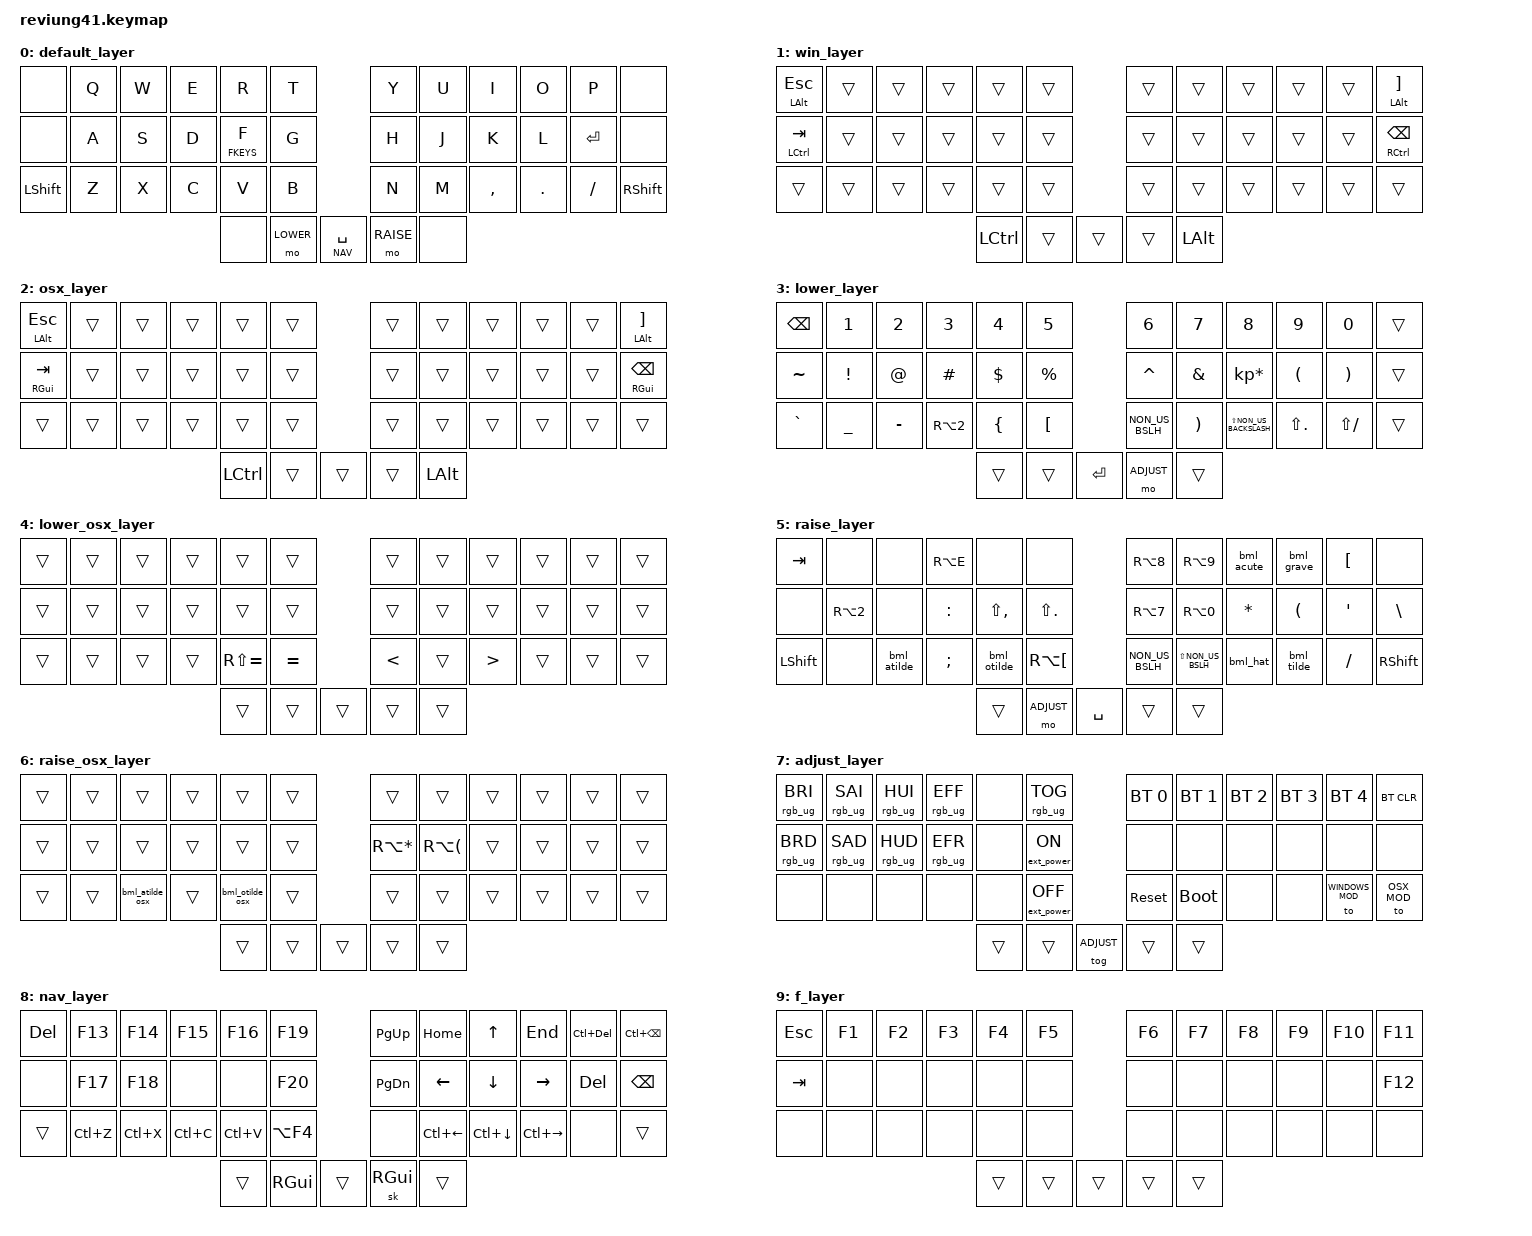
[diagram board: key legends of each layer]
/*
 * Copyright (c) 2020 The ZMK Contributors
 *
 * SPDX-License-Identifier: MIT
 */

#include <behaviors.dtsi>
#include <dt-bindings/zmk/keys.h>
#include <dt-bindings/zmk/bt.h>
#include <dt-bindings/zmk/rgb.h>
#include <dt-bindings/zmk/ext_power.h>


/*
 * Temporarily here because nice nano v2 spi is not defined on ZMk Yet
 * Source: https://github.com/zmkfirmware/zmk/blob/main/app/boards/shields/reviung41/boards/nice_nano.overlay
 * GitHub Issue: https://github.com/zmkfirmware/zmk/issues/885
 */

#include <dt-bindings/led/led.h>
// &spi1 {
// 	compatible = "nordic,nrf-spim";
// 	status = "okay";
// 	mosi-pin = <6>;
// 	// Unused pins, needed for SPI definition, but not used by the ws2812 driver itself.
// 	sck-pin = <5>;
// 	miso-pin = <7>;

// 	led_strip: ws2812@0 {
// 		compatible = "worldsemi,ws2812-spi";

// 		/* SPI */
// 		reg = <0>; /* ignored, but necessary for SPI bindings */
// 		spi-max-frequency = <4000000>;

// 		/* WS2812 */
// 		chain-length = <11>; /* arbitrary; change at will */
// 		spi-one-frame = <0x70>;
// 		spi-zero-frame = <0x40>;
// 		color-mapping = <LED_COLOR_ID_GREEN LED_COLOR_ID_RED LED_COLOR_ID_BLUE>;
// 	};
// };

// / {
// 	chosen {
// 		zmk,underglow = &led_strip;
// 	};
// };

#define BASE 0
#define WINDOWS_MOD 1
#define OSX_MOD 2
#define LOWER 3
#define LOWER_OSX 4
#define RAISE 5
#define RAISE_OSX 6
#define ADJUST 7
#define NAV 8
#define FKEYS 9
#define ADJUST_PLUS 10

#define KC_BML_ATILDE 
#define KC_BML_OTILDE 
#define KC_BML_GRAVE 
#define KC_BML_ACUTE 
#define KC_BML_HAT 
#define KC_BML_TILDE 

/ {
    macros {
        bml_atilde: bml_atilde {
          compatible = "zmk,behavior-macro";
          #binding-cells = <0>;
          wait-ms = <30>;
          tap-ms = <40>;
          bindings
              = <&macro_tap &kp BACKSLASH &kp A>
              ;
        };
        bml_atilde_osx: bml_atilde_osx {
          compatible = "zmk,behavior-macro";
          #binding-cells = <0>;
          wait-ms = <30>;
          tap-ms = <40>;
          bindings
              = <&macro_tap &kp APOS &kp A>
              ;
        };
        bml_otilde: bml_otilde {
          compatible = "zmk,behavior-macro";
          #binding-cells = <0>;
          wait-ms = <30>;
          tap-ms = <40>;
          bindings
              = <&macro_tap &kp BACKSLASH &kp O>
              ;
        };
        bml_tilde: bml_tilde {
          compatible = "zmk,behavior-macro";
          #binding-cells = <0>;
          wait-ms = <30>;
          tap-ms = <40>;
          bindings
              = <&macro_tap &kp BACKSLASH &kp SPACE>
              ;
        };         
        bml_otilde_osx: bml_otilde_osx {
          compatible = "zmk,behavior-macro";
          #binding-cells = <0>;
          wait-ms = <30>;
          tap-ms = <40>;
          bindings
              = <&macro_tap &kp APOS &kp O>
              ;
        };
        bml_tilde_osx: bml_tilde_osx {
          compatible = "zmk,behavior-macro";
          #binding-cells = <0>;
          wait-ms = <30>;
          tap-ms = <40>;
          bindings
              = <&macro_tap &kp APOS &kp SPACE>
              ;
        }; 
        bml_hat: bml_hat {
          compatible = "zmk,behavior-macro";
          #binding-cells = <0>;
          wait-ms = <30>;
          tap-ms = <40>;
          bindings
              = <&macro_press &kp LSHFT>
              , <&macro_tap &kp BACKSLASH>
              , <&macro_release &kp LSHFT>
              , <&macro_tap &kp SPACE>
              ; 
        }; 
        bml_acute: bml_acute {
          compatible = "zmk,behavior-macro";
          #binding-cells = <0>;
          wait-ms = <30>;
          tap-ms = <40>;
          bindings
              = <&macro_tap &kp RBKT &kp SPACE>
              ;
        }; 
        bml_grave: bml_grave {
          compatible = "zmk,behavior-macro";
          #binding-cells = <0>;
          wait-ms = <30>;
          tap-ms = <40>;
          bindings
              = <&macro_press &kp LSHFT>
              , <&macro_tap &kp RBKT>
              , <&macro_release &kp LSHFT>
              , <&macro_tap &kp SPACE>
              ;
        };
      };
};

/ {
    conditional_layers {
        compatible = "zmk,conditional-layers";
        win_layer {
            if-layers = <WINDOWS_MOD>;
            then-layer = <BASE>;
        };
        osx_layer {
            if-layers = <OSX_MOD>;
            then-layer = <BASE>;
        };
        lower_osx_layer {
            if-layers = <OSX_MOD LOWER>;
            then-layer = <LOWER_OSX>;
        };
        raise_osx_layer {
            if-layers = <OSX_MOD RAISE>;
            then-layer = <RAISE_OSX>;
        };
    };
};

/ {
    behaviors {
        hm: homerow_mods {
            compatible = "zmk,behavior-hold-tap";
            #binding-cells = <2>;
            tapping-term-ms = <150>;
            quick-tap-ms = <0>;
            flavor = "tap-preferred";
            bindings = <&kp>, <&kp>;
        };
    };
        keymap {
                compatible = "zmk,keymap";



  default_layer {
    // |   [X]   | Q | W | E |      R      |     T     |               |     Y     |  U  | I | O | P  |   [X]   |
    // |   [X]   | A | S | D | &lt FKEYS F |     G     |               |     H     |  J  | K | L | ⮠  |   [X]   |
    // | &LSHIFT | Z | X | C |      V      |     B     |               |     N     |  M  | , | . | /  | &RSHIFT |
    //                       |     [X]     | [m] LOWER | &lt NAV SPACE | [m] RAISE | [X] |                       

    bindings = <
      &none        &kp Q   &kp W   &kp E   &kp R         &kp T                       &kp Y       &kp U   &kp I       &kp O     &kp P      &none    
      &none        &kp A   &kp S   &kp D   &lt FKEYS F   &kp G                       &kp H       &kp J   &kp K       &kp L     &kp RET    &none    
      &kp LSHIFT   &kp Z   &kp X   &kp C   &kp V         &kp B                       &kp N       &kp M   &kp COMMA   &kp DOT   &kp FSLH   &kp RSHIFT  
                                           &none         &mo LOWER   &lt NAV SPACE   &mo RAISE   &none                                            
    >;
  };

  win_layer {
    // | LALT|ESC  |   |   |   |       |   |    |   |     |   |   |   | &hm LALT RBKT |
    // | LCTRL|TAB |   |   |   |       |   |    |   |     |   |   |   |   RCTL|BSPC   |
    // |           |   |   |   |       |   |    |   |     |   |   |   |               |
    //                         | LCTRL |   |    |   | ALT |                            

    bindings = <
      &mt LALT ESC    &trans   &trans   &trans   &trans      &trans            &trans   &trans     &trans   &trans   &trans   &hm LALT RBKT  
      &mt LCTRL TAB   &trans   &trans   &trans   &trans      &trans            &trans   &trans     &trans   &trans   &trans   &mt RCTRL BSPC  
      &trans          &trans   &trans   &trans   &trans      &trans            &trans   &trans     &trans   &trans   &trans   &trans         
                                                 &kp LCTRL   &trans   &trans   &trans   &kp LALT                                            
    >;
  };

  osx_layer {
    // | LALT|ESC |   |   |   |       |   |    |   |     |   |   |   | &hm LALT RBKT |
    // | RGUI|TAB |   |   |   |       |   |    |   |     |   |   |   |   RGUI|BSPC   |
    // |          |   |   |   |       |   |    |   |     |   |   |   |               |
    //                        | LCTRL |   |    |   | ALT |                            

    bindings = <
      &mt LALT ESC   &trans   &trans   &trans   &trans      &trans            &trans   &trans     &trans   &trans   &trans   &hm LALT RBKT  
      &mt RGUI TAB   &trans   &trans   &trans   &trans      &trans            &trans   &trans     &trans   &trans   &trans   &mt RGUI BSPC  
      &trans         &trans   &trans   &trans   &trans      &trans            &trans   &trans     &trans   &trans   &trans   &trans         
                                                &kp LCTRL   &trans   &trans   &trans   &kp LALT                                            
    >;
  };
  
  lower_layer {
    // | BSPC |   1   | 2 |     3     | 4 | 5 |    |      6      | 7 |          8           |    9    |    0     |   |
    // |  ~   |   !   | @ |     #     | $ | % |    |      ^      | & |          #*          |    (    |    )     |   |
    // |  `   | UNDER | - | RA(KP_N2) | { | [ |    | NON_US_BSLH | ) | LS(NON_US_BACKSLASH) | LS(DOT) | LS(FSLH) |   |
    //                                |   |   | ⮠  | [m] ADJUST  |   |                                                

    bindings = <
      &kp BSPC    &kp N1      &kp N2      &kp N3          &kp N4     &kp N5                &kp N6            &kp N7     &kp N8                     &kp N9        &kp N0         &trans  
      &kp TILDE   &kp EXCL    &kp AT      &kp HASH        &kp DLLR   &kp PRCNT             &kp CARET         &kp AMPS   &kp KP_ASTERISK            &kp LPAR      &kp RPAR       &trans  
      &kp GRAVE   &kp UNDER   &kp MINUS   &kp RA(N2)      &kp LBRC   &kp LBKT              &kp NON_US_BSLH   &kp RPAR   &kp LS(NON_US_BACKSLASH)   &kp LS(DOT)   &kp LS(FSLH)   &trans  
                                                          &trans     &trans      &kp RET   &mo ADJUST        &trans                                                                    
    >;
  };
  
  lower_osx_layer {
    bindings = <
      &trans   &trans   &trans   &trans   &trans            &trans            &trans   &trans     &trans   &trans   &trans   &trans  
      &trans   &trans   &trans   &trans   &trans            &trans            &trans   &trans     &trans   &trans   &trans   &trans  
      &trans   &trans   &trans   &trans   &kp RS(EQUAL)     &kp EQUAL            &kp LESS_THAN   &trans     &kp GREATER_THAN   &trans   &trans   &trans         
                                 &trans   &trans            &trans            &trans   &trans                                            
    >;
  };

  raise_layer {
    // |  TAB   |  [X]   |     [X]     |   RA(E)   |     [X]     |    [X]     |       |   RA(N8)    |     RA(N9)      | &bml_acute | &bml_grave |  [   |  [X]   |
    // |  [X]   | RA(N2) |     [X]     |   COLON   |  LS(COMMA)  |  LS(DOT)   |       |   RA(N7)    |     RA(N0)      |     *      |     (      | APOS |   \    |
    // | LSHIFT |  [X]   | &bml_atilde | SEMICOLON | &bml_otilde |  RA(LBKT)  |       | NON_US_BSLH | LS(NON_US_BSLH) |  &bml_hat  | &bml_tilde |  /   | RSHIFT |
    //                                             |             | [m] ADJUST | SPACE |             |                 |                                          

    bindings = <
      &kp TAB      &none        &none         &kp RA(E)       &none           &none                      &kp RA(N8)        &kp RA(N9)            &bml_acute   &bml_grave   &kp LBKT   &none       
      &none        &kp RA(N2)   &none         &kp COLON       &kp LS(COMMA)   &kp LS(DOT)                &kp RA(N7)        &kp RA(N0)            &kp STAR     &kp LPAR     &kp APOS   &kp BSLH    
      &kp LSHIFT   &none        &bml_atilde   &kp SEMICOLON   &bml_otilde     &kp RA(LBKT)               &kp NON_US_BSLH   &kp LS(NON_US_BSLH)   &bml_hat     &bml_tilde   &kp FSLH   &kp RSHIFT  
                                                              &trans          &mo ADJUST     &kp SPACE   &trans            &trans                                                                
    >;
  };
  
  raise_osx_layer {
    bindings = <
      &trans   &trans   &trans            &trans   &trans               &trans            &trans   &trans     &trans   &trans   &trans   &trans  
      &trans   &trans   &trans            &trans   &trans               &trans            &kp RA(STAR)   &kp RA(LPAR)     &trans   &trans   &trans   &trans  
      &trans   &trans   &bml_atilde_osx   &trans   &bml_otilde_osx      &trans            &trans   &trans     &trans   &trans   &trans   &trans         
                                          &trans      &trans            &trans            &trans   &trans                                            
    >;
  };

  adjust_layer {
    // | rgb BRI+ | rgb SAT+ | rgb HUE+ | rgb ANI+ | [X] |      rgb TOG      |            | bt SEL 0 |  bt SEL 1   | bt SEL 2 | bt SEL 3 |    bt SEL 4     |   bt CLR    |
    // | rgb BRI- | rgb SAT- | rgb HUE- | rgb ANI- | [X] | &ext_power EP_ON  |            |   [X]    |     [X]     |   [X]    |   [X]    |       [X]       |     [X]     |
    // |   [X]    |   [X]    |   [X]    |   [X]    | [X] | &ext_power EP_OFF |            |  &reset  | &bootloader |   [X]    |   [X]    | &to WINDOWS_MOD | &to OSX_MOD |
    //                                             |     |                   | [t] ADJUST |          |             |                                                      

    bindings = <
      &rgb_ug RGB_BRI   &rgb_ug RGB_SAI   &rgb_ug RGB_HUI   &rgb_ug RGB_EFF   &none    &rgb_ug RGB_TOG                   &bt BT_SEL 0   &bt BT_SEL 1   &bt BT_SEL 2   &bt BT_SEL 3   &bt BT_SEL 4      &bt BT_CLR   
      &rgb_ug RGB_BRD   &rgb_ug RGB_SAD   &rgb_ug RGB_HUD   &rgb_ug RGB_EFR   &none    &ext_power EP_ON                  &none          &none          &none          &none          &none             &none        
      &none             &none             &none             &none             &none    &ext_power EP_OFF                 &sys_reset         &bootloader    &none          &none          &to WINDOWS_MOD   &to OSX_MOD  
                                                                              &trans   &trans              &tog ADJUST   &trans         &trans                                                                     
    >;
  };

  nav_layer {
    // | DEL |  F13  |  F14  |  F15  |  F16  |  F19   |    |  PAGE_UP  |   HOME   |    ^     |    END    | LC(DEL) | LC(BSPC) |
    // | [X] |  F17  |  F18  |  [X]  |  [X]  |  F20   |    | PAGE_DOWN |    <-    |    v     |    ->     |   DEL   |   BSPC   |
    // |     | LC(Z) | LC(X) | LC(C) | LC(V) | LA(F4) |    |    [X]    | LC(LEFT) | LC(DOWN) | LC(RIGHT) |   [X]   |          |
    //                               |       |  GUI   |    | &sk RGUI  |          |                                            

    bindings = <
      &kp DEL   &kp F13     &kp F14     &kp F15     &kp F16     &kp F19               &kp PAGE_UP     &kp HOME       &kp UP         &kp END         &kp LC(DEL)   &kp LC(BSPC)  
      &none     &kp F17     &kp F18     &none       &none       &kp F20               &kp PAGE_DOWN   &kp LEFT       &kp DOWN       &kp RIGHT       &kp DEL       &kp BSPC      
      &trans    &kp LC(Z)   &kp LC(X)   &kp LC(C)   &kp LC(V)   &kp LA(F4)            &none           &kp LC(LEFT)   &kp LC(DOWN)   &kp LC(RIGHT)   &none         &trans     
                                                    &trans      &kp RGUI     &trans   &sk RGUI        &trans                                                                   
    >;
  };

  f_layer {
    // | [X] | F1  | F2  | F3  | F4  | F5  |    | F6  | F7  | F8  | F9  | F10 | F11 |
    // | [X] | [X] | [X] | [X] | [X] | [X] |    | [X] | [X] | [X] | [X] | [X] | F12 |
    // | [X] | [X] | [X] | [X] | [X] | [X] |    | [X] | [X] | [X] | [X] | [X] | [X] |
    //                         |     |     |    |     |     |                        

    bindings = <
      &kp ESC  &kp F1   &kp F2   &kp F3   &kp F4   &kp F5            &kp F6   &kp F7   &kp F8   &kp F9   &kp F10   &kp F11  
      &kp TAB  &none    &none    &none    &none    &none             &none    &none    &none    &none    &none     &kp F12  
      &none    &none    &none    &none    &none    &none             &none    &none    &none    &none    &none     &none    
                                         &trans   &trans   &trans   &trans   &trans                                       
    >;
  };
        };
};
